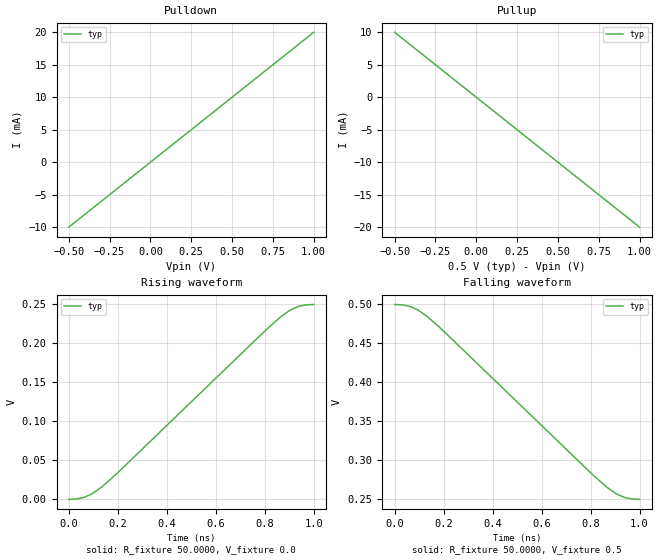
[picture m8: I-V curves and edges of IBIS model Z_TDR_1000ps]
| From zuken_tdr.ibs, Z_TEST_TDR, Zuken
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|   Model Z_TDR_1000ps  OUTPUT
[Model]   Z_TDR_1000ps
Model_type  Output
Polarity   Non-Inverting
Vmeas =0.125V
Vref =0V
Rref =50
Cref =0pF
| variable   typ   min   max
C_comp   0.0   NA   NA
[Temperature Range]   50   NA   NA
[Voltage range]   0.5   NA   NA
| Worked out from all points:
|   slope of the pulldown table from 0 to 0.075 V, typ, clamps not added: 50 ohm
|   slope of the pullup table from 0 to 0.075 V, typ, clamps not added: 50 ohm
|   rising waveform, R_fixture 50.0000, V_fixture 0.0: 20-80 % time 495ps typ, NA min, NA max; typ from 0 V to 0.25 V
|   falling waveform, R_fixture 50.0000, V_fixture 0.5: 20-80 % time 495ps typ, NA min, NA max; typ from 0.5 V to 0.25 V
[Pullup]
|   Voltage   I(typ)   I(min)   I(max)
-500mV    10mA       NA         NA
1V        -20mA      NA         NA
[Pulldown]
|   Voltage   I(typ)   I(min)   I(max)
-500mV    -10mA      NA         NA
1V        20mA       NA         NA
[GND Clamp]
|   Voltage   I(typ)   I(min)   I(max)
-500mV    0A         NA         NA
1V        0A         NA         NA
[POWER Clamp]
|   Voltage   I(typ)   I(min)   I(max)
-500mV    0A         NA         NA
1V        0A         NA         NA
[ramp]
| variable   typ   min   max
dV/dt_r   0.15/600ps   NA   NA
dV/dt_f   0.15/600ps   NA   NA
[Rising Waveform]
R_fixture=   50.0000
V_fixture=   0.0
V_fixture_min=  0.0
V_fixture_max=  0.0
|time   V(typ)   V(min)   V(max)
0s        0V         NA         NA
60.59ps   2.234mV    NA         NA
96.02ps   7.173mV    NA         NA
133.5ps   15.52mV    NA         NA
228.1ps   42.66mV    NA         NA
771.9ps   207.3mV    NA         NA
866.5ps   234.5mV    NA         NA
904ps     242.8mV    NA         NA
939.4ps   247.8mV    NA         NA
1ns       250mV      NA         NA
[Falling Waveform]
R_fixture=   50.0000
V_fixture=   0.5
V_fixture_min=  0.5
V_fixture_max=  0.5
|time   V(typ)   V(min)   V(max)
0s        500mV      NA         NA
60.59ps   497.8mV    NA         NA
96.02ps   492.8mV    NA         NA
133.5ps   484.5mV    NA         NA
228.1ps   457.3mV    NA         NA
771.9ps   292.7mV    NA         NA
866.5ps   265.5mV    NA         NA
904ps     257.2mV    NA         NA
939.4ps   252.2mV    NA         NA
1ns       250mV      NA         NA
